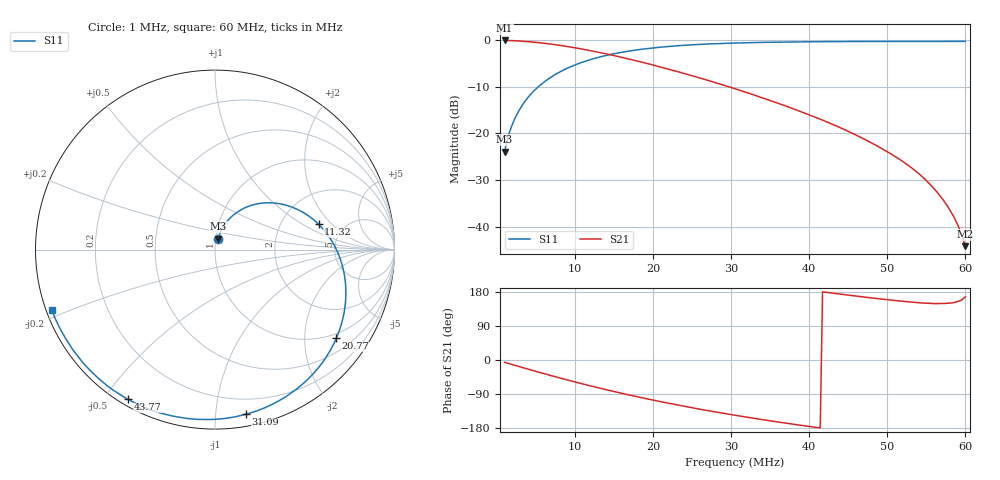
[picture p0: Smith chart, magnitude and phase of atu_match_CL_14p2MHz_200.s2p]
! S11/S21 from S-A-A-2 VNA
! Written 2026-11-14 07:56:15 by the saav2 MCP server
! S12 and S22 were not measured (1.5-port VNA) and are written as 0
# HZ S RI R 50
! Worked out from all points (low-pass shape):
!   201 points, 1 MHz to 60 MHz, reference 50 ohm
!   highest |S21| = -0.08 dB at 1 MHz (marker M1); lowest = -44.2 dB at 60 MHz (marker M2)
!   |S21| within 3 dB of the highest: start of sweep to 14.37 MHz
!   lowest |S11| = -23.9 dB at 1 MHz (marker M3), VSWR 1.14, Z = 51.4 + j6.35 ohm
!   |S11| at or under -10 dB: start of sweep to 5.318 MHz
!   S12 and S22 are empty: the file has one direction only
!   S11 on the Smith chart (normalised r, x): 1 MHz: 1.03, +0.13; 11.32 MHz: 3.25, +1.42; 20.77 MHz: 0.86, -2.83; 31.09 MHz: 0.09, -1.20; 43.77 MHz: 0.02, -0.57; 60 MHz: 0.02, -0.18
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1000000  0.0177 0.0615  0.9853 -0.1076  0 0  0 0
1590000  0.0301 0.0962  0.9756 -0.1665  0 0  0 0
2180000  0.0468 0.1283  0.9588 -0.2256  0 0  0 0
3065000  0.0797 0.1714  0.9249 -0.3106  0 0  0 0
4245000  0.1375 0.2176  0.865 -0.4139  0 0  0 0
7490000  0.341 0.2584  0.6397 -0.6226  0 0  0 0
1.103e7  0.5612 0.1561  0.3579 -0.7142  0 0  0 0
1.1325e7  0.5767 0.1416  0.3356 -0.7159  0 0  0 0
1.575e7  0.7208 -0.1403  0.0376 -0.6601  0 0  0 0
1.811e7  0.7251 -0.311  -0.0779 -0.5881  0 0  0 0
2.0765e7  0.6759 -0.4936  -0.1698 -0.4919  0 0  0 0
2.578e7  0.47 -0.7643  -0.2504 -0.3089  0 0  0 0
3.05e7  0.2077 -0.9068  -0.2494 -0.1689  0 0  0 0
3.109e7  0.1735 -0.9167  -0.2457 -0.1544  0 0  0 0
3.581e7  -0.097 -0.946  -0.2044 -0.0625  0 0  0 0
4.053e7  -0.3415 -0.8989  -0.1518 -0.00831  0 0  0 0
4.3775e7  -0.4854 -0.8339  -0.1167 0.0114  0 0  0 0
5.0265e7  -0.7131 -0.6549  -0.0575 0.0226  0 0  0 0
5.3805e7  -0.8028 -0.5416  -0.0338 0.0183  0 0  0 0
5.646e7  -0.8559 -0.4541  -0.0197 0.0119  0 0  0 0
5.8525e7  -0.8901 -0.3846  -0.0112 0.00605  0 0  0 0
6e7  -0.9094 -0.3347  -0.00603 0.00141  0 0  0 0
